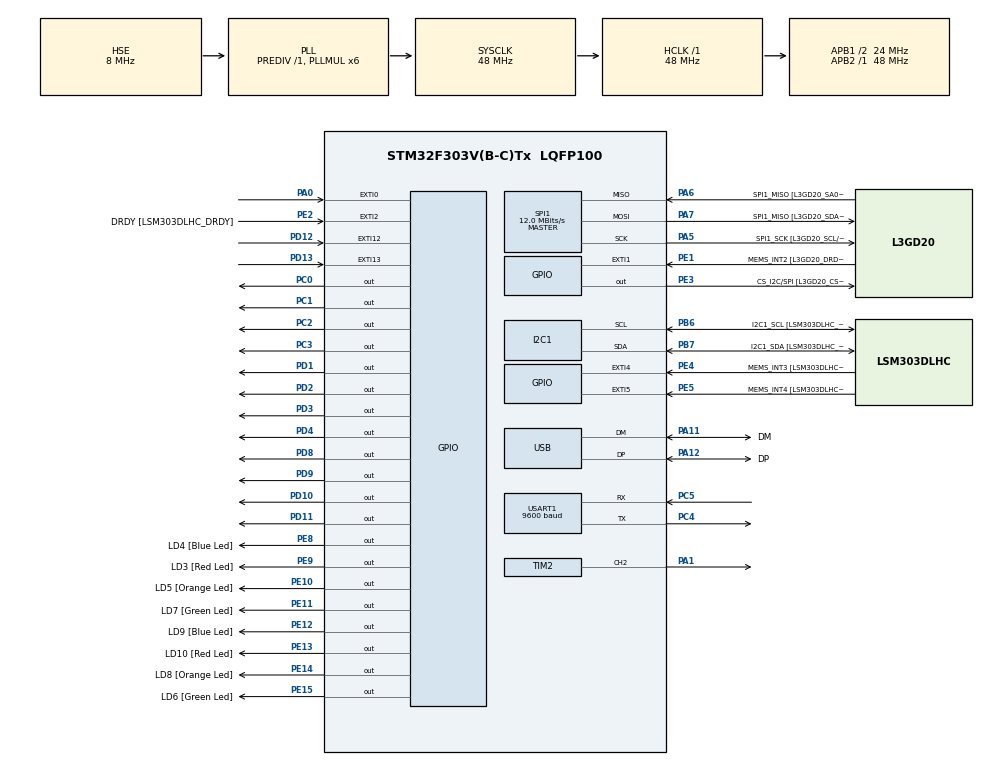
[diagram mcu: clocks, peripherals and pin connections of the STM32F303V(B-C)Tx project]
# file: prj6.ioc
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I2C1.Timing=0x2000090E
I2C1.Timing-I2C=0x2000090E
Mcu.Family=STM32F3
Mcu.Name=STM32F303V(B-C)Tx
Mcu.Package=LQFP100
NVIC.EXTI0_IRQn=true\:0\:0\:false\:false\:true\:true\:true\:true
NVIC.EXTI15_10_IRQn=true\:0\:0\:false\:false\:true\:true\:true\:true
NVIC.PriorityGroup=NVIC_PRIORITYGROUP_0
NVIC.TIM1_UP_TIM16_IRQn=true\:0\:0\:false\:false\:true\:true\:true\:true
NVIC.TIM6_DAC_IRQn=true\:0\:0\:false\:false\:true\:true\:true\:true
NVIC.TIM7_IRQn=true\:0\:0\:false\:false\:true\:true\:true\:true
NVIC.USART1_IRQn=true\:0\:0\:false\:false\:true\:true\:true\:true
PA0.GPIO_ModeDefaultEXTI=GPIO_MODE_IT_RISING_FALLING
PA0.Signal=GPXTI0
PA1.Signal=S_TIM2_CH2
PA11.GPIO_Label=DM
PA11.Mode=Device
PA11.Signal=USB_DM
PA12.GPIO_Label=DP
PA12.Mode=Device
PA12.Signal=USB_DP
PA13.GPIO_Label=SWDIO
PA13.Mode=Serial_Wire
PA13.Signal=SYS_JTMS-SWDIO
PA14.GPIO_Label=SWCLK
PA14.Mode=Serial_Wire
PA14.Signal=SYS_JTCK-SWCLK
PA5.GPIO_Label=SPI1_SCK [L3GD20_SCL/SPC]
PA5.Mode=Full_Duplex_Master
PA5.Signal=SPI1_SCK
PA6.GPIO_Label=SPI1_MISO [L3GD20_SA0/SDO]
PA6.Mode=Full_Duplex_Master
PA6.Signal=SPI1_MISO
PA7.GPIO_Label=SPI1_MISO [L3GD20_SDA/SDI/SDO]
PA7.Mode=Full_Duplex_Master
PA7.Signal=SPI1_MOSI
PB3.GPIO_Label=SWO
PB3.Signal=SYS_JTDO-TRACESWO
PB6.GPIO_Label=I2C1_SCL [LSM303DLHC_SCL]
PB6.GPIO_Pu=GPIO_PULLUP
PB6.Mode=I2C
PB6.Signal=I2C1_SCL
PB7.GPIO_Label=I2C1_SDA [LSM303DLHC_SDA]
PB7.GPIO_Pu=GPIO_PULLUP
PB7.Mode=I2C
PB7.Signal=I2C1_SDA
PC0.Signal=GPIO_Output
PC1.Signal=GPIO_Output
PC14-OSC32_IN.GPIO_Label=OSC32_IN
PC14-OSC32_IN.Signal=RCC_OSC32_IN
PC15-OSC32_OUT.GPIO_Label=OSC32_OUT
PC15-OSC32_OUT.Signal=RCC_OSC32_OUT
PC2.Signal=GPIO_Output
PC3.Signal=GPIO_Output
PC4.Mode=Asynchronous
PC4.Signal=USART1_TX
PC5.Mode=Asynchronous
PC5.Signal=USART1_RX
PD1.Signal=GPIO_Output
PD10.Signal=GPIO_Output
PD11.Signal=GPIO_Output
PD12.GPIO_ModeDefaultEXTI=GPIO_MODE_IT_RISING_FALLING
PD12.GPIO_PuPd=GPIO_PULLDOWN
PD12.Signal=GPXTI12
PD13.GPIO_ModeDefaultEXTI=GPIO_MODE_IT_RISING_FALLING
PD13.GPIO_PuPd=GPIO_PULLDOWN
PD13.Signal=GPXTI13
PD2.Signal=GPIO_Output
PD3.Signal=GPIO_Output
PD4.Signal=GPIO_Output
PD8.Signal=GPIO_Output
PD9.Signal=GPIO_Output
PE1.GPIO_Label=MEMS_INT2 [L3GD20_DRDY/INT2]
PE1.GPIO_ModeDefaultEXTI=GPIO_MODE_EVT_RISING
PE1.Signal=GPXTI1
PE10.GPIO_Label=LD5 [Orange Led]
PE10.Signal=GPIO_Output
PE11.GPIO_Label=LD7 [Green Led]
PE11.Signal=GPIO_Output
PE12.GPIO_Label=LD9 [Blue Led]
PE12.Signal=GPIO_Output
PE13.GPIO_Label=LD10 [Red Led]
PE13.Signal=GPIO_Output
PE14.GPIO_Label=LD8 [Orange Led]
PE14.Signal=GPIO_Output
PE15.GPIO_Label=LD6 [Green Led]
PE15.Signal=GPIO_Output
PE2.GPIO_Label=DRDY [LSM303DLHC_DRDY]
PE2.GPIO_ModeDefaultEXTI=GPIO_MODE_EVT_RISING
PE2.Signal=GPXTI2
PE3.GPIO_Label=CS_I2C/SPI [L3GD20_CS_I2C/SPI]
PE3.Signal=GPIO_Output
PE4.GPIO_Label=MEMS_INT3 [LSM303DLHC_INT1]
PE4.GPIO_ModeDefaultEXTI=GPIO_MODE_EVT_RISING
PE4.Signal=GPXTI4
PE5.GPIO_Label=MEMS_INT4 [LSM303DLHC_INT2]
PE5.GPIO_ModeDefaultEXTI=GPIO_MODE_EVT_RISING
PE5.Signal=GPXTI5
PE8.GPIO_Label=LD4 [Blue Led]
PE8.Signal=GPIO_Output
PE9.GPIO_Label=LD3 [Red Led]
PE9.Signal=GPIO_Output
PF0-OSC_IN.GPIO_Label=OSC_IN
PF0-OSC_IN.Mode=HSE-External-Clock-Source
PF0-OSC_IN.Signal=RCC_OSC_IN
PF1-OSC_OUT.GPIO_Label=OSC_OUT
PF1-OSC_OUT.Signal=RCC_OSC_OUT
ProjectManager.HeapSize=0x200
ProjectManager.StackSize=0x400
ProjectManager.TargetToolchain=STM32CubeIDE
RCC.AHBFreq_Value=48000000
RCC.APB1CLKDivider=RCC_HCLK_DIV2
RCC.APB1Freq_Value=24000000
RCC.APB1TimFreq_Value=48000000
RCC.APB2Freq_Value=48000000
RCC.APB2TimFreq_Value=48000000
RCC.CortexFreq_Value=48000000
RCC.HCLKFreq_Value=48000000
RCC.HSE_VALUE=8000000
RCC.HSI_VALUE=8000000
RCC.LSE_VALUE=32768
RCC.PLLMUL=RCC_PLL_MUL6
RCC.SYSCLKFreq_VALUE=48000000
RCC.SYSCLKSourceVirtual=RCC_SYSCLKSOURCE_PLLCLK
RCC.USBFreq_Value=48000000
SH.S_TIM2_CH2.0=TIM2_CH2,PWM Generation2 CH2
SPI1.BaudRatePrescaler=SPI_BAUDRATEPRESCALER_4
SPI1.BaudRatePrescaler-Full_Duplex_Master=SPI_BAUDRATEPRESCALER_2
SPI1.CalculateBaudRate=12.0 MBits/s
SPI1.CalculateBaudRate-Full_Duplex_Master=24.0 MBits/s
SPI1.Direction=SPI_DIRECTION_2LINES
SPI1.Mode=SPI_MODE_MASTER
SPI1.Mode-Full_Duplex_Master=SPI_MODE_MASTER
SPI1.VirtualType=VM_MASTER
TIM16.Period=1000-1
TIM16.Prescaler=48-1
TIM2.Channel-PWM\ Generation2\ CH2=TIM_CHANNEL_2
TIM6.Period=1000-1
TIM6.Prescaler=48-1
TIM7.Period=1000-1
TIM7.Prescaler=48-1
USART1.BaudRate=9600
USART1.VirtualMode-Asynchronous=VM_ASYNC
VP_TIM16_VS_ClockSourceINT.Mode=Enable_Timer
VP_TIM1_VS_ClockSourceINT.Mode=Internal
VP_TIM2_VS_ClockSourceINT.Mode=Internal
VP_TIM6_VS_ClockSourceINT.Mode=Enable_Timer
VP_TIM7_VS_ClockSourceINT.Mode=Enable_Timer
board=STM32F3DISCOVERY

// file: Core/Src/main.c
/* USER CODE BEGIN Header */
/**
  ******************************************************************************
  * @file           : main.c
  * @brief          : Main program body
  ******************************************************************************
  * @attention
  *
  * Copyright (c) 2024 STMicroelectronics.
  * All rights reserved.
  *
  * This software is licensed under terms that can be found in the LICENSE file
  * in the root directory of this software component.
  * If no LICENSE file comes with this software, it is provided AS-IS.
  *
  ******************************************************************************
  */
/* USER CODE END Header */
#include "main.h"

/* USER CODE BEGIN Includes */
#include <string.h>
#include <ctype.h>
/* USER CODE END Includes */

/* USER CODE BEGIN PD */
#define DEBOUNCE_TIME 200
/* USER CODE END PD */

I2C_HandleTypeDef hi2c1;

SPI_HandleTypeDef hspi1;

TIM_HandleTypeDef htim1;
TIM_HandleTypeDef htim2;
TIM_HandleTypeDef htim6;
TIM_HandleTypeDef htim7;
TIM_HandleTypeDef htim16;

UART_HandleTypeDef huart1;

PCD_HandleTypeDef hpcd_USB_FS;

void SystemClock_Config(void);
static void MX_GPIO_Init(void);
static void MX_I2C1_Init(void);
static void MX_SPI1_Init(void);
static void MX_USB_PCD_Init(void);
static void MX_TIM6_Init(void);
static void MX_USART1_UART_Init(void);
static void MX_TIM7_Init(void);
static void MX_TIM2_Init(void);
static void MX_TIM16_Init(void);
static void MX_TIM1_Init(void);

/* USER CODE BEGIN 0 */
uint8_t data[100];
uint8_t d;
uint8_t i = 0;
int digit[4] = {0};
int password[4];
int temp_digit = 0;
int current_digit = -1;
int log_on = 1;
int alert_on = 1;
int volume = 5;
int frequency = 5000;
int password_correct = 0;
int password_wrong = 0;
int password_timer = 0;
int wrong_password_count = 0;
int lock = 0;
int unlock = 0;
int lock_timer;
int alert_event = 0;// 1 correct password - 2 wrong password - 3 set password
int alert_event_timer = 0;
int alert_on_alert = 0;
int alert_on_alert_timer = 0;

TIM_HandleTypeDef *pwm_timer  = &htim2;
uint32_t pwm_channel = TIM_CHANNEL_2;

void PWM_Start(){
	HAL_TIM_PWM_Start(pwm_timer,pwm_channel);
}

void PWM_Change_Tone(uint16_t pwm_freq,uint16_t volume){
	if (pwm_freq == 0 || pwm_freq > 20000){
		__HAL_TIM_SET_COMPARE(pwm_timer,pwm_channel,0);
	}
	else{
		const uint32_t internal_clock_freq = HAL_RCC_GetSysClockFreq();
		const uint16_t prescaler = 1 + internal_clock_freq / pwm_freq / 60000;
		const uint32_t timer_clock = internal_clock_freq / prescaler;
		const uint32_t period_cycles = timer_clock / pwm_freq;
		const uint32_t pulse_width = volume * period_cycles / 1000 / 2;

		pwm_timer->Instance->PSC = prescaler - 1;
		pwm_timer->Instance->ARR = period_cycles - 1;
		pwm_timer->Instance->EGR = TIM_EGR_UG;
		__HAL_TIM_SET_COMPARE(pwm_timer,pwm_channel,pulse_width);
	}
}

void HAL_GPIO_EXTI_Callback(uint16_t GPIO_Pin){
	if(GPIO_Pin == GPIO_PIN_12){ // pin 0 triggered
		static uint32_t last_enter_time = 0;
		if (HAL_GPIO_ReadPin(GPIOD, GPIO_PIN_12) && !lock){ // rising edge
			if (HAL_GetTick() - last_enter_time < DEBOUNCE_TIME){
				return;
			}
			else{
				last_enter_time = HAL_GetTick();
			}
		}
		else if (!HAL_GPIO_ReadPin(GPIOD, GPIO_PIN_12) && !lock){ // falling edge
			if (HAL_GetTick() - last_enter_time < DEBOUNCE_TIME){// debounce
				return;
			}
			else { //short press
				last_enter_time = HAL_GetTick();
				digit[current_digit] = (digit[current_digit]+1)%10;
			}
		}

	}
	else if(GPIO_Pin == GPIO_PIN_13){
		static uint32_t last_enter_time_2 = 0;
		if (HAL_GPIO_ReadPin(GPIOD, GPIO_PIN_13) && !lock){ // rising edge
			if (HAL_GetTick() - last_enter_time_2 < DEBOUNCE_TIME){
				return;
			}
			else{
				last_enter_time_2 = HAL_GetTick();
			}
		}
		else if (!HAL_GPIO_ReadPin(GPIOD, GPIO_PIN_13) && !lock){// falling edge
			if (HAL_GetTick() - last_enter_time_2 < DEBOUNCE_TIME){// debounce
				return;
			}
			else { //short press
				last_enter_time_2 = HAL_GetTick();
				if (current_digit == -1){
					current_digit = 0;
					HAL_GPIO_WritePin(GPIOC, GPIO_PIN_1, 1);
				}
				else if (current_digit <= 2 && current_digit >= 0){
					current_digit++;
				}
				else {
					HAL_GPIO_WritePin(GPIOC, GPIO_PIN_1, 0);
					current_digit = -1;
					check_password(digit[0] , digit[1] , digit[2] , digit[3]);
					digit[0] = 0;
					digit[1] = 0;
					digit[2] = 0;
					digit[3] = 0;
				}

			}
		}
	}
	else if (GPIO_Pin == GPIO_PIN_0){
		static uint32_t last_enter_time3 = 0;
		if (HAL_GPIO_ReadPin(GPIOA, GPIO_PIN_0)){ // rising edge
			if (HAL_GetTick() - last_enter_time3 < DEBOUNCE_TIME){
				return;
			}
			else{
				last_enter_time3 = HAL_GetTick();
			}
		}
		else { // falling edge
			if (HAL_GetTick() - last_enter_time3 < DEBOUNCE_TIME){// debounce
				return;
			}
			else { //short press
				last_enter_time3 = HAL_GetTick();
				lock = 0;
				unlock = 1;
			}
		}
	}
}
void check_password(int a1,int a2,int a3,int a4){
	if (a1==password[0] && a2 == password[1] && a3 == password[2] && a4 == password[3]){
		if (log_on){
			char log_str[] = "LOG (XXXX, CORRECT)\n";
			log_str[5] = (a1 + '0');
			log_str[6] = (a2 + '0');
			log_str[7] = (a3 + '0');
			log_str[8] = (a4 + '0');
			HAL_UART_Transmit(&huart1, log_str, strlen(log_str),HAL_MAX_DELAY);
		}
		password_correct = 1;
		wrong_password_count = 0;
		alert_event = 1;
	}
	else{
		if (log_on){
			char log_str[] = "LOG (XXXX, FAILED)\n";
			log_str[5] = (a1 + '0');
			log_str[6] = (a2 + '0');
			log_str[7] = (a3 + '0');
			log_str[8] = (a4 + '0');
			HAL_UART_Transmit(&huart1, log_str, strlen(log_str),HAL_MAX_DELAY);
		}
		password_wrong = 1;
		alert_event = 2;
		wrong_password_count++;
		if (wrong_password_count >= 3){
			lock = 1;
		}
	}
}
void shownumber (int x){
	HAL_GPIO_WritePin(GPIOD, GPIO_PIN_8, x%2);
	x/=2;
	HAL_GPIO_WritePin(GPIOD, GPIO_PIN_9, x%2);
	x/=2;
	HAL_GPIO_WritePin(GPIOD, GPIO_PIN_10, x%2);
	x/=2;
	HAL_GPIO_WritePin(GPIOD, GPIO_PIN_11, x%2);
}
void active_digits (){
	if (current_digit == temp_digit){
		HAL_GPIO_WritePin(GPIOC, GPIO_PIN_0, 0);
	}
	else{
		HAL_GPIO_WritePin(GPIOC, GPIO_PIN_0, 1);
	}
	if (temp_digit == 0){
		HAL_GPIO_WritePin(GPIOD, GPIO_PIN_1, 1);
		HAL_GPIO_WritePin(GPIOD, GPIO_PIN_2, 0);
		HAL_GPIO_WritePin(GPIOD, GPIO_PIN_3, 0);
		HAL_GPIO_WritePin(GPIOD, GPIO_PIN_4, 0);
		shownumber(digit[0]);
		temp_digit = 1;
	}
	else if (temp_digit == 1){
		HAL_GPIO_WritePin(GPIOD, GPIO_PIN_1, 0);
		HAL_GPIO_WritePin(GPIOD, GPIO_PIN_2, 1);
		HAL_GPIO_WritePin(GPIOD, GPIO_PIN_3, 0);
		HAL_GPIO_WritePin(GPIOD, GPIO_PIN_4, 0);
		shownumber(digit[1]);
		temp_digit = 2;
	}
	else if (temp_digit == 2){
		HAL_GPIO_WritePin(GPIOD, GPIO_PIN_1, 0);
		HAL_GPIO_WritePin(GPIOD, GPIO_PIN_2, 0);
		HAL_GPIO_WritePin(GPIOD, GPIO_PIN_3, 1);
		HAL_GPIO_WritePin(GPIOD, GPIO_PIN_4, 0);
		shownumber(digit[2]);
		temp_digit = 3;
	}
	else if (temp_digit == 3){
		HAL_GPIO_WritePin(GPIOD, GPIO_PIN_1, 0);
		HAL_GPIO_WritePin(GPIOD, GPIO_PIN_2, 0);
		HAL_GPIO_WritePin(GPIOD, GPIO_PIN_3, 0);
		HAL_GPIO_WritePin(GPIOD, GPIO_PIN_4, 1);
		shownumber(digit[3]);
		temp_digit = 0;
	}
}
void check_setpassword_command(int x){
	char error1[] = "ERROR(LENGTH DOESN'T MATCH)\n";
	char error2[] = "ERROR(DID YOU MEAN SET_PASS ?)\n";
	char error3[] = "ERROR(FORGET PARANTHESIS)\n";
	char error4[] = "ERROR(NON-NUMERIC-PASSWORD)\n";
	char ok1[] = "PASS_CHANGED(XXXX)\n";
	char check[] = "SET_PASS\n";
	if (x != 15){
		HAL_UART_Transmit(&huart1, error1, strlen(error1), HAL_MAX_DELAY);
	}
	else {
		if (strncmp(data,check,7)!= 0){
			HAL_UART_Transmit(&huart1, error2, strlen(error2), HAL_MAX_DELAY);
		}
		else{
			if (data[8] != '(' || data[13] != ')'){
				HAL_UART_Transmit(&huart1, error3, strlen(error3), HAL_MAX_DELAY);
			}
			else if (data[9]>='0' && data[9]<= '9' && data[10]>='0' && data[10]<= '9' && data[11]>='0' && data[11]<= '9' && data[12]>='0' && data[12]<= '9'){
				ok1[13] = data[9];
				ok1[14] = data[10];
				ok1[15] = data[11];
				ok1[16] = data[12];
				password[0] = (data[9] - '0');
				password[1] = (data[10] - '0');
				password[2] = (data[11] - '0');
				password[3] = (data[12] - '0');
				alert_event = 3;
				HAL_UART_Transmit(&huart1, ok1, strlen(ok1), HAL_MAX_DELAY);
			}
			else{
				HAL_UART_Transmit(&huart1, error4, strlen(error4), HAL_MAX_DELAY);
			}
		}
	}
}
void check_log_command (int x){
	char error1[] = "ERROR(LENGTH DOESN'T MATCH)\n";
	char error2[] = "ERROR(DID YOU MEAN LOG_ON ?)\n";
	char error3[] = "ERROR(DID YOU MEAN LOG_OFF?)\n";
	char check[] = "LOG_O";
	if (x == 7){
		if (strncmp (data,check,5) == 0 && data[5] == 'N'){
			char response[] = "LOG IS NOW ON \n";
			log_on = 1;
			HAL_UART_Transmit(&huart1, response, strlen(response), HAL_MAX_DELAY);
		}
		else{
			HAL_UART_Transmit(&huart1, error2, strlen(error2), HAL_MAX_DELAY);
		}

	}
	else if ( x == 8){
		if (strncmp (data,check,5) == 0 && data[5] == 'F' && data[6] == 'F'){
			char response[] = "LOG IS NOW OFF \n";
			log_on = 0;
			HAL_UART_Transmit(&huart1, response, strlen(response), HAL_MAX_DELAY);
		}
		else{
			HAL_UART_Transmit(&huart1, error3, strlen(error3), HAL_MAX_DELAY);
		}
	}
	else{
		HAL_UART_Transmit(&huart1, error1, strlen(error1), HAL_MAX_DELAY);
	}
}
void check_setvolume_command(int x){
	char error1[] = "ERROR(LENGTH DOESN'T MATCH)\n";
	char error2[] = "ERROR(VOLUME MUST BE IN RANGE(1,5))\n";
	char error3[] = "ERROR(NON NUMERIC VOLUME !)\n";
	char error4[] = "ERROR(YOU FORGET PARANTHESIS)\n";
	char error5[] = "ERROR(DID YOU MEAN SETVOLUME ?)\n";
	char check[] = "SET_VOLUME";
	if (x!=14){
		HAL_UART_Transmit(&huart1, error1, strlen(error1), HAL_MAX_DELAY);
	}
	else{
		if (strncmp(data,check,10) == 0){
			if (data[10] == '(' && data[12] ==')' && data[11] >='1' && data[11] <= '5'){
				int newvolume = data[11] - '0';
				char response[] = "VOLUME CHANGED TO X\n";
				response[18] = data[11];
				volume = newvolume;
				HAL_UART_Transmit(&huart1, response, strlen(response), HAL_MAX_DELAY);
			}
			else if (data[10] == '(' && data[12] == ')' && data[11]>='6' && data[11] <= '9'){
				HAL_UART_Transmit(&huart1, error2, strlen(error2), HAL_MAX_DELAY);
			}
			else if (data[10] == '(' && data[12] == ')'){
				HAL_UART_Transmit(&huart1, error3, strlen(error3), HAL_MAX_DELAY);
			}
			else{
				HAL_UART_Transmit(&huart1, error4, strlen(error4), HAL_MAX_DELAY);
			}
		}
		else{
			HAL_UART_Transmit(&huart1, error5, strlen(error5), HAL_MAX_DELAY);
		}
	}
}
void check_setalert_command(int x){
	char error1[] = "ERROR(LENGTH DOESN'T MATCH)\n";
	char error2[] = "ERROR(NON NUMERIC VALUE OR FORGET PARANTHESIS!)\n";
	char error3[] = "ERROR(DID YOU MEAN SET_ALERT?)\n";
	char check[] ="SET_ALERT";
	if (x != 16){
		HAL_UART_Transmit(&huart1, error1, strlen(error1), HAL_MAX_DELAY);
	}
	else {
		if (strncmp(data,check,9) == 0){
			if (data[9] == '(' && data[14] == ')' && isdigit(data[10]) && isdigit(data[11]) && isdigit(data[12]) && isdigit(data[13]) ){
				int newfrequency = (data[10] - '0')*1000;
				newfrequency += (data[11] - '0')*100;
				newfrequency += (data[12] - '0')*10;
				newfrequency += (data[13] - '0');
				char response[] = "FREQUENCY SET TO XXXX\n";
				response[17] = data[10];
				response[18] = data[11];
				response[19] = data[12];
				response[20] = data[13];
				frequency = newfrequency;
				HAL_UART_Transmit(&huart1, response, strlen(response), HAL_MAX_DELAY);

			}
			else{
				HAL_UART_Transmit(&huart1, error2, strlen(error2), HAL_MAX_DELAY);
			}
		}
		else{
			HAL_UART_Transmit(&huart1, error3, strlen(error3), HAL_MAX_DELAY);
		}
	}
}
void check_alert_command(int x){
	char error1[] = "ERROR(LENGTH DOESN'T MATCH)\n";
	char error2[] = "ERROR(DID YOU MEAN ALERT_ON ?)\n";
	char error3[] = "ERROR(DID YOU MEAN ALERT_OFF?)\n";
	char check[] = "ALERT_O";
	if (x == 9){
		if (strncmp (data,check,7) == 0 && data[7] == 'N'){
			char response[] = "ALERT IS NOW ON \n";
			alert_on = 1;
			alert_on_alert = 1;
			HAL_UART_Transmit(&huart1, response, strlen(response), HAL_MAX_DELAY);
		}
		else{
			HAL_UART_Transmit(&huart1, error2, strlen(error2), HAL_MAX_DELAY);
		}

	}
	else if ( x == 10){
		if (strncmp (data,check,7) == 0 && data[7] == 'F' && data[8] == 'F'){
			char response[] = "ALERT IS NOW OFF \n";
			alert_on = 0;
			HAL_UART_Transmit(&huart1, response, strlen(response), HAL_MAX_DELAY);
		}
		else{
			HAL_UART_Transmit(&huart1, error3, strlen(error3), HAL_MAX_DELAY);
		}
	}
	else{
		HAL_UART_Transmit(&huart1, error1, strlen(error1), HAL_MAX_DELAY);
	}
}
void HAL_UART_RxCpltCallback(UART_HandleTypeDef *huart) {
	if (huart->Instance == USART1) {
		HAL_UART_Receive_IT(&huart1, &d, 1);
		data[i++] = d;
		if (d == '\n') {
			data[i] = '\0';
			if (data[0] == 'S'){
				char check1[] = "SET_P";
				char check2[] = "SET_V";
				char check3[] = "SET_A";
				if (i < 6){
					char response[] = "ERROR(UNKNOWN-COMMAND1)\n";
					HAL_UART_Transmit(&huart1, response, strlen(response), HAL_MAX_DELAY);
				}
				else if (strncmp(data,check1,5) == 0){
					check_setpassword_command(i);
				}
				else if (strncmp(data,check2,5) == 0){
					check_setvolume_command(i);
				}
				else if (strncmp(data,check3,5) == 0){
					check_setalert_command(i);
				}
				else{
					char response[] = "ERROR(UNKNOWN-COMMAND)\n";
					HAL_UART_Transmit(&huart1, response, strlen(response), HAL_MAX_DELAY);
				}

			}
			else if(data[0] == 'L'){
				check_log_command(i);
			}
			else if (data[0] == 'A'){
				check_alert_command(i);
			}
			else{
				char response[] = "ERROR(UNKNOWN-COMMAND)\n";
				HAL_UART_Transmit(&huart1, response, strlen(response), HAL_MAX_DELAY);
			}
			i = 0;
		}
	}
}

void HAL_TIM_PeriodElapsedCallback(TIM_HandleTypeDef *htim) {

	if (htim->Instance == TIM6) {
		active_digits();

	}
	if (htim->Instance == TIM7){
		if (password_correct == 1){
			if (password_timer == 0 ){
				password_timer = HAL_GetTick();
				HAL_GPIO_WritePin(GPIOC, GPIO_PIN_2, 1);
			}
			else if (HAL_GetTick() - password_timer >= 5000){
				HAL_GPIO_WritePin(GPIOC, GPIO_PIN_2,0);
				password_timer = 0;
				password_correct = 0;
			}
		}
		else if (password_wrong == 1){
			if (password_timer == 0 ){
				password_timer = HAL_GetTick();
				HAL_GPIO_WritePin(GPIOC, GPIO_PIN_3, 1);
			}
			else if (HAL_GetTick() - password_timer >= 5000){
				HAL_GPIO_WritePin(GPIOC, GPIO_PIN_3,0);
				password_timer = 0;
				password_wrong = 0;
			}
			else{
				int idk = (HAL_GetTick()-password_timer);
				idk/=500;
				HAL_GPIO_WritePin(GPIOC, GPIO_PIN_3, idk%2);
			}
		}
	}
	if (htim->Instance == TIM16){
		if (lock){
			if (lock_timer == 0){
				lock_timer = HAL_GetTick();
				PWM_Change_Tone(frequency, volume*10);
			}
			else {
				int checksquare = (HAL_GetTick()-lock_timer)/1000;
				if (checksquare % 2 == 0){
					PWM_Change_Tone(frequency, volume*10);
				}
				else{
					PWM_Change_Tone(frequency*2, volume*10);
				}
			}
		}
		else if(unlock){
			PWM_Change_Tone(0, 0);
			unlock = 0;
		}
		else if (alert_on_alert){
			if (alert_on_alert_timer == 0){
				alert_on_alert_timer = HAL_GetTick();
				PWM_Change_Tone(3000, volume*10);
			}
			else if (HAL_GetTick() - alert_on_alert_timer >= 20000){
				alert_on_alert = 0;
				alert_on_alert_timer = 0;
				PWM_Change_Tone(0, 0);
			}
		}
		if (alert_on == 1){
			if (alert_event != 0 && alert_event_timer  == 0){
//				char res[] = "IM HERE\n";
//				HAL_UART_Transmit(&huart1, res, strlen(res), HAL_MAX_DELAY);
				alert_event_timer = HAL_GetTick();
				PWM_Change_Tone(500*alert_event, volume*10);
			}
			else if (alert_event != 0 && HAL_GetTick() - alert_event_timer >= 1000){
				PWM_Change_Tone(0, 0);
				alert_event = 0;
				alert_event_timer = 0;
			}
		}
	}
}
/* USER CODE END 0 */

int main(void)
{

  /* MCU Configuration--------------------------------------------------------*/

  /* Reset of all peripherals, Initializes the Flash interface and the Systick. */
  HAL_Init();

  /* Configure the system clock */
  SystemClock_Config();

  /* Initialize all configured peripherals */
  MX_GPIO_Init();
  MX_I2C1_Init();
  MX_SPI1_Init();
  MX_USB_PCD_Init();
  MX_TIM6_Init();
  MX_USART1_UART_Init();
  MX_TIM7_Init();
  MX_TIM2_Init();
  MX_TIM16_Init();
  MX_TIM1_Init();
  /* USER CODE BEGIN 2 */
  HAL_TIM_Base_Start_IT(&htim6);
  HAL_TIM_Base_Start_IT(&htim7);
  HAL_TIM_Base_Start_IT(&htim16);
  HAL_UART_Receive_IT(&huart1, &d, 1);
  PWM_Start();
//  PWM_Change_Tone(500, 50);
//  HAL_Delay(1000);
//  PWM_Change_Tone(0, 0);
  /* USER CODE END 2 */

  /* Infinite loop */
  while (1)
  {

    /* USER CODE BEGIN 3 */
//	PWM_Change_Tone(440, 30);
//	HAL_Delay(1000);
//	PWM_Change_Tone(2440, 50);
//	HAL_Delay(1000);

  }
  /* USER CODE END 3 */
}

void SystemClock_Config(void)
{
  RCC_OscInitTypeDef RCC_OscInitStruct = {0};
  RCC_ClkInitTypeDef RCC_ClkInitStruct = {0};
  RCC_PeriphCLKInitTypeDef PeriphClkInit = {0};

  /** Initializes the RCC Oscillators according to the specified parameters
  * in the RCC_OscInitTypeDef structure.
  */
  RCC_OscInitStruct.OscillatorType = RCC_OSCILLATORTYPE_HSI|RCC_OSCILLATORTYPE_HSE;
  RCC_OscInitStruct.HSEState = RCC_HSE_BYPASS;
  RCC_OscInitStruct.HSEPredivValue = RCC_HSE_PREDIV_DIV1;
  RCC_OscInitStruct.HSIState = RCC_HSI_ON;
  RCC_OscInitStruct.HSICalibrationValue = RCC_HSICALIBRATION_DEFAULT;
  RCC_OscInitStruct.PLL.PLLState = RCC_PLL_ON;
  RCC_OscInitStruct.PLL.PLLSource = RCC_PLLSOURCE_HSE;
  RCC_OscInitStruct.PLL.PLLMUL = RCC_PLL_MUL6;
  if (HAL_RCC_OscConfig(&RCC_OscInitStruct) != HAL_OK)
  {
    Error_Handler();
  }

  /** Initializes the CPU, AHB and APB buses clocks
  */
  RCC_ClkInitStruct.ClockType = RCC_CLOCKTYPE_HCLK|RCC_CLOCKTYPE_SYSCLK
                              |RCC_CLOCKTYPE_PCLK1|RCC_CLOCKTYPE_PCLK2;
  RCC_ClkInitStruct.SYSCLKSource = RCC_SYSCLKSOURCE_PLLCLK;
  RCC_ClkInitStruct.AHBCLKDivider = RCC_SYSCLK_DIV1;
  RCC_ClkInitStruct.APB1CLKDivider = RCC_HCLK_DIV2;
  RCC_ClkInitStruct.APB2CLKDivider = RCC_HCLK_DIV1;

  if (HAL_RCC_ClockConfig(&RCC_ClkInitStruct, FLASH_LATENCY_1) != HAL_OK)
  {
    Error_Handler();
  }
  PeriphClkInit.PeriphClockSelection = RCC_PERIPHCLK_USB|RCC_PERIPHCLK_USART1
                              |RCC_PERIPHCLK_I2C1|RCC_PERIPHCLK_TIM1;
  PeriphClkInit.Usart1ClockSelection = RCC_USART1CLKSOURCE_PCLK2;
  PeriphClkInit.I2c1ClockSelection = RCC_I2C1CLKSOURCE_HSI;
  PeriphClkInit.USBClockSelection = RCC_USBCLKSOURCE_PLL;
  PeriphClkInit.Tim1ClockSelection = RCC_TIM1CLK_HCLK;
  if (HAL_RCCEx_PeriphCLKConfig(&PeriphClkInit) != HAL_OK)
  {
    Error_Handler();
  }
}

static void MX_I2C1_Init(void)
{

  hi2c1.Instance = I2C1;
  hi2c1.Init.Timing = 0x2000090E;
  hi2c1.Init.OwnAddress1 = 0;
  hi2c1.Init.AddressingMode = I2C_ADDRESSINGMODE_7BIT;
  hi2c1.Init.DualAddressMode = I2C_DUALADDRESS_DISABLE;
  hi2c1.Init.OwnAddress2 = 0;
  hi2c1.Init.OwnAddress2Masks = I2C_OA2_NOMASK;
  hi2c1.Init.GeneralCallMode = I2C_GENERALCALL_DISABLE;
  hi2c1.Init.NoStretchMode = I2C_NOSTRETCH_DISABLE;
  if (HAL_I2C_Init(&hi2c1) != HAL_OK)
  {
    Error_Handler();
  }

  /** Configure Analogue filter
  */
  if (HAL_I2CEx_ConfigAnalogFilter(&hi2c1, I2C_ANALOGFILTER_ENABLE) != HAL_OK)
  {
    Error_Handler();
  }

  /** Configure Digital filter
  */
  if (HAL_I2CEx_ConfigDigitalFilter(&hi2c1, 0) != HAL_OK)
  {
    Error_Handler();
  }

}

static void MX_SPI1_Init(void)
{

  /* SPI1 parameter configuration*/
  hspi1.Instance = SPI1;
  hspi1.Init.Mode = SPI_MODE_MASTER;
  hspi1.Init.Direction = SPI_DIRECTION_2LINES;
  hspi1.Init.DataSize = SPI_DATASIZE_4BIT;
  hspi1.Init.CLKPolarity = SPI_POLARITY_LOW;
  hspi1.Init.CLKPhase = SPI_PHASE_1EDGE;
  hspi1.Init.NSS = SPI_NSS_SOFT;
  hspi1.Init.BaudRatePrescaler = SPI_BAUDRATEPRESCALER_4;
  hspi1.Init.FirstBit = SPI_FIRSTBIT_MSB;
  hspi1.Init.TIMode = SPI_TIMODE_DISABLE;
  hspi1.Init.CRCCalculation = SPI_CRCCALCULATION_DISABLE;
  hspi1.Init.CRCPolynomial = 7;
  hspi1.Init.CRCLength = SPI_CRC_LENGTH_DATASIZE;
  hspi1.Init.NSSPMode = SPI_NSS_PULSE_ENABLE;
  if (HAL_SPI_Init(&hspi1) != HAL_OK)
  {
    Error_Handler();
  }

}

static void MX_TIM1_Init(void)
{

  TIM_ClockConfigTypeDef sClockSourceConfig = {0};
  TIM_MasterConfigTypeDef sMasterConfig = {0};

  htim1.Instance = TIM1;
  htim1.Init.Prescaler = 0;
  htim1.Init.CounterMode = TIM_COUNTERMODE_UP;
  htim1.Init.Period = 65535;
  htim1.Init.ClockDivision = TIM_CLOCKDIVISION_DIV1;
  htim1.Init.RepetitionCounter = 0;
  htim1.Init.AutoReloadPreload = TIM_AUTORELOAD_PRELOAD_DISABLE;
  if (HAL_TIM_Base_Init(&htim1) != HAL_OK)
  {
    Error_Handler();
  }
  sClockSourceConfig.ClockSource = TIM_CLOCKSOURCE_INTERNAL;
  if (HAL_TIM_ConfigClockSource(&htim1, &sClockSourceConfig) != HAL_OK)
  {
    Error_Handler();
  }
  sMasterConfig.MasterOutputTrigger = TIM_TRGO_RESET;
  sMasterConfig.MasterOutputTrigger2 = TIM_TRGO2_RESET;
  sMasterConfig.MasterSlaveMode = TIM_MASTERSLAVEMODE_DISABLE;
  if (HAL_TIMEx_MasterConfigSynchronization(&htim1, &sMasterConfig) != HAL_OK)
  {
    Error_Handler();
  }

}

static void MX_TIM2_Init(void)
{

  TIM_ClockConfigTypeDef sClockSourceConfig = {0};
  TIM_MasterConfigTypeDef sMasterConfig = {0};
  TIM_OC_InitTypeDef sConfigOC = {0};

  htim2.Instance = TIM2;
  htim2.Init.Prescaler = 0;
  htim2.Init.CounterMode = TIM_COUNTERMODE_UP;
  htim2.Init.Period = 4294967295;
  htim2.Init.ClockDivision = TIM_CLOCKDIVISION_DIV1;
  htim2.Init.AutoReloadPreload = TIM_AUTORELOAD_PRELOAD_DISABLE;
  if (HAL_TIM_Base_Init(&htim2) != HAL_OK)
  {
    Error_Handler();
  }
  sClockSourceConfig.ClockSource = TIM_CLOCKSOURCE_INTERNAL;
  if (HAL_TIM_ConfigClockSource(&htim2, &sClockSourceConfig) != HAL_OK)
  {
    Error_Handler();
  }
  if (HAL_TIM_PWM_Init(&htim2) != HAL_OK)
  {
    Error_Handler();
  }
  sMasterConfig.MasterOutputTrigger = TIM_TRGO_RESET;
  sMasterConfig.MasterSlaveMode = TIM_MASTERSLAVEMODE_DISABLE;
  if (HAL_TIMEx_MasterConfigSynchronization(&htim2, &sMasterConfig) != HAL_OK)
  {
    Error_Handler();
  }
  sConfigOC.OCMode = TIM_OCMODE_PWM1;
  sConfigOC.Pulse = 0;
  sConfigOC.OCPolarity = TIM_OCPOLARITY_HIGH;
  sConfigOC.OCFastMode = TIM_OCFAST_DISABLE;
  if (HAL_TIM_PWM_ConfigChannel(&htim2, &sConfigOC, TIM_CHANNEL_2) != HAL_OK)
  {
    Error_Handler();
  }
  HAL_TIM_MspPostInit(&htim2);

}

static void MX_TIM6_Init(void)
{

  TIM_MasterConfigTypeDef sMasterConfig = {0};

  htim6.Instance = TIM6;
  htim6.Init.Prescaler = 48-1;
  htim6.Init.CounterMode = TIM_COUNTERMODE_UP;
  htim6.Init.Period = 1000-1;
  htim6.Init.AutoReloadPreload = TIM_AUTORELOAD_PRELOAD_DISABLE;
  if (HAL_TIM_Base_Init(&htim6) != HAL_OK)
  {
    Error_Handler();
  }
  sMasterConfig.MasterOutputTrigger = TIM_TRGO_RESET;
  sMasterConfig.MasterSlaveMode = TIM_MASTERSLAVEMODE_DISABLE;
  if (HAL_TIMEx_MasterConfigSynchronization(&htim6, &sMasterConfig) != HAL_OK)
  {
    Error_Handler();
  }

}

static void MX_TIM7_Init(void)
{

  TIM_MasterConfigTypeDef sMasterConfig = {0};

  htim7.Instance = TIM7;
  htim7.Init.Prescaler = 48-1;
  htim7.Init.CounterMode = TIM_COUNTERMODE_UP;
  htim7.Init.Period = 1000-1;
  htim7.Init.AutoReloadPreload = TIM_AUTORELOAD_PRELOAD_DISABLE;
  if (HAL_TIM_Base_Init(&htim7) != HAL_OK)
  {
    Error_Handler();
  }
  sMasterConfig.MasterOutputTrigger = TIM_TRGO_RESET;
  sMasterConfig.MasterSlaveMode = TIM_MASTERSLAVEMODE_DISABLE;
  if (HAL_TIMEx_MasterConfigSynchronization(&htim7, &sMasterConfig) != HAL_OK)
  {
    Error_Handler();
  }

}

static void MX_TIM16_Init(void)
{

  htim16.Instance = TIM16;
  htim16.Init.Prescaler = 48-1;
  htim16.Init.CounterMode = TIM_COUNTERMODE_UP;
  htim16.Init.Period = 1000-1;
  htim16.Init.ClockDivision = TIM_CLOCKDIVISION_DIV1;
  htim16.Init.RepetitionCounter = 0;
  htim16.Init.AutoReloadPreload = TIM_AUTORELOAD_PRELOAD_DISABLE;
  if (HAL_TIM_Base_Init(&htim16) != HAL_OK)
  {
    Error_Handler();
  }

}

static void MX_USART1_UART_Init(void)
{

  huart1.Instance = USART1;
  huart1.Init.BaudRate = 9600;
  huart1.Init.WordLength = UART_WORDLENGTH_8B;
  huart1.Init.StopBits = UART_STOPBITS_1;
  huart1.Init.Parity = UART_PARITY_NONE;
  huart1.Init.Mode = UART_MODE_TX_RX;
  huart1.Init.HwFlowCtl = UART_HWCONTROL_NONE;
  huart1.Init.OverSampling = UART_OVERSAMPLING_16;
  huart1.Init.OneBitSampling = UART_ONE_BIT_SAMPLE_DISABLE;
  huart1.AdvancedInit.AdvFeatureInit = UART_ADVFEATURE_NO_INIT;
  if (HAL_UART_Init(&huart1) != HAL_OK)
  {
    Error_Handler();
  }

}

static void MX_USB_PCD_Init(void)
{

  hpcd_USB_FS.Instance = USB;
  hpcd_USB_FS.Init.dev_endpoints = 8;
  hpcd_USB_FS.Init.speed = PCD_SPEED_FULL;
  hpcd_USB_FS.Init.phy_itface = PCD_PHY_EMBEDDED;
  hpcd_USB_FS.Init.low_power_enable = DISABLE;
  hpcd_USB_FS.Init.battery_charging_enable = DISABLE;
  if (HAL_PCD_Init(&hpcd_USB_FS) != HAL_OK)
  {
    Error_Handler();
  }

}

static void MX_GPIO_Init(void)
{
  GPIO_InitTypeDef GPIO_InitStruct = {0};

  /* GPIO Ports Clock Enable */
  __HAL_RCC_GPIOE_CLK_ENABLE();
  __HAL_RCC_GPIOC_CLK_ENABLE();
  __HAL_RCC_GPIOF_CLK_ENABLE();
  __HAL_RCC_GPIOA_CLK_ENABLE();
  __HAL_RCC_GPIOD_CLK_ENABLE();
  __HAL_RCC_GPIOB_CLK_ENABLE();

  /*Configure GPIO pin Output Level */
  HAL_GPIO_WritePin(GPIOE, CS_I2C_SPI_Pin|LD4_Pin|LD3_Pin|LD5_Pin
                          |LD7_Pin|LD9_Pin|LD10_Pin|LD8_Pin
                          |LD6_Pin, GPIO_PIN_RESET);

  /*Configure GPIO pin Output Level */
  HAL_GPIO_WritePin(GPIOC, GPIO_PIN_0|GPIO_PIN_1|GPIO_PIN_2|GPIO_PIN_3, GPIO_PIN_RESET);

  /*Configure GPIO pin Output Level */
  HAL_GPIO_WritePin(GPIOD, GPIO_PIN_8|GPIO_PIN_9|GPIO_PIN_10|GPIO_PIN_11
                          |GPIO_PIN_1|GPIO_PIN_2|GPIO_PIN_3|GPIO_PIN_4, GPIO_PIN_RESET);

  /*Configure GPIO pins : DRDY_Pin MEMS_INT3_Pin MEMS_INT4_Pin MEMS_INT2_Pin */
  GPIO_InitStruct.Pin = DRDY_Pin|MEMS_INT3_Pin|MEMS_INT4_Pin|MEMS_INT2_Pin;
  GPIO_InitStruct.Mode = GPIO_MODE_EVT_RISING;
  GPIO_InitStruct.Pull = GPIO_NOPULL;
  HAL_GPIO_Init(GPIOE, &GPIO_InitStruct);

  /*Configure GPIO pins : CS_I2C_SPI_Pin LD4_Pin LD3_Pin LD5_Pin
                           LD7_Pin LD9_Pin LD10_Pin LD8_Pin
                           LD6_Pin */
  GPIO_InitStruct.Pin = CS_I2C_SPI_Pin|LD4_Pin|LD3_Pin|LD5_Pin
                          |LD7_Pin|LD9_Pin|LD10_Pin|LD8_Pin
                          |LD6_Pin;
  GPIO_InitStruct.Mode = GPIO_MODE_OUTPUT_PP;
  GPIO_InitStruct.Pull = GPIO_NOPULL;
  GPIO_InitStruct.Speed = GPIO_SPEED_FREQ_LOW;
  HAL_GPIO_Init(GPIOE, &GPIO_InitStruct);

  /*Configure GPIO pins : PC0 PC1 PC2 PC3 */
  GPIO_InitStruct.Pin = GPIO_PIN_0|GPIO_PIN_1|GPIO_PIN_2|GPIO_PIN_3;
  GPIO_InitStruct.Mode = GPIO_MODE_OUTPUT_PP;
  GPIO_InitStruct.Pull = GPIO_NOPULL;
  GPIO_InitStruct.Speed = GPIO_SPEED_FREQ_LOW;
  HAL_GPIO_Init(GPIOC, &GPIO_InitStruct);

  /*Configure GPIO pin : PA0 */
  GPIO_InitStruct.Pin = GPIO_PIN_0;
  GPIO_InitStruct.Mode = GPIO_MODE_IT_RISING_FALLING;
  GPIO_InitStruct.Pull = GPIO_NOPULL;
  HAL_GPIO_Init(GPIOA, &GPIO_InitStruct);

  /*Configure GPIO pins : PD8 PD9 PD10 PD11
                           PD1 PD2 PD3 PD4 */
  GPIO_InitStruct.Pin = GPIO_PIN_8|GPIO_PIN_9|GPIO_PIN_10|GPIO_PIN_11
                          |GPIO_PIN_1|GPIO_PIN_2|GPIO_PIN_3|GPIO_PIN_4;
  GPIO_InitStruct.Mode = GPIO_MODE_OUTPUT_PP;
  GPIO_InitStruct.Pull = GPIO_NOPULL;
  GPIO_InitStruct.Speed = GPIO_SPEED_FREQ_LOW;
  HAL_GPIO_Init(GPIOD, &GPIO_InitStruct);

  /*Configure GPIO pins : PD12 PD13 */
  GPIO_InitStruct.Pin = GPIO_PIN_12|GPIO_PIN_13;
  GPIO_InitStruct.Mode = GPIO_MODE_IT_RISING_FALLING;
  GPIO_InitStruct.Pull = GPIO_PULLDOWN;
  HAL_GPIO_Init(GPIOD, &GPIO_InitStruct);

  /* EXTI interrupt init*/
  HAL_NVIC_SetPriority(EXTI0_IRQn, 0, 0);
  HAL_NVIC_EnableIRQ(EXTI0_IRQn);

  HAL_NVIC_SetPriority(EXTI15_10_IRQn, 0, 0);
  HAL_NVIC_EnableIRQ(EXTI15_10_IRQn);

}

void Error_Handler(void)
{
  __disable_irq();
  while (1)
  {
  }
}
